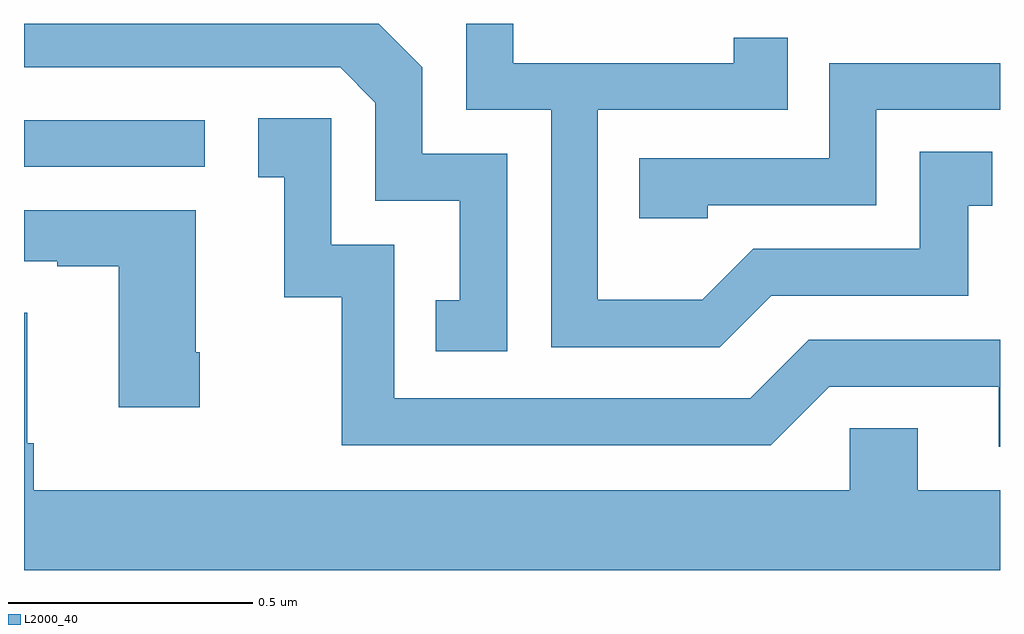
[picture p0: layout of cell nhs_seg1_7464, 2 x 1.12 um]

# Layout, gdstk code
import gdstk
lib = gdstk.Library(unit=1e-6, precision=1e-09)
def R(c, l, rs):  # rectangles x0, y0, x1, y1
    for r in rs: c.add(gdstk.rectangle(r[:2], r[2:], *l))
def P(c, l, *ps):  # polygons
    for p in ps: c.add(gdstk.Polygon(p, *l))
L2000_40 = (2000, 40)

nhs_seg1_7464 = lib.new_cell('nhs_seg1_7464')
R(nhs_seg1_7464, L2000_40, [(204,537.906,204.37,538.002)])
P(nhs_seg1_7464, L2000_40, [(205.531,537.642),(205.935,537.642),(205.935,537.827),(205.984,537.827),(205.984,537.937),(205.836,537.937),(205.836,537.738),(205.494,537.738),(205.39,537.634),(205.176,537.634),(205.176,538.023),(205.565,538.023),(205.565,538.171),(205.454,538.171),(205.454,538.119),(205.003,538.119),(205.003,538.199),(204.906,538.199),(204.906,538.023),(205.08,538.023),(205.08,537.537),(205.426,537.537)],
  [(204.99,537.933),(204.816,537.933),(204.816,538.11),(204.727,538.199),(204,538.199),(204,538.11),(204.648,538.11),(204.72,538.038),(204.72,537.837),(204.893,537.837),(204.893,537.633),(204.844,537.633),(204.844,537.528),(204.99,537.528)],
  [(205.401,537.828),(205.746,537.828),(205.746,538.023),(206,538.023),(206,538.119),(205.65,538.119),(205.65,537.924),(205.261,537.924),(205.261,537.801),(205.401,537.801)],
  [(206,537.552),(205.608,537.552),(205.488,537.432),(204.759,537.432),(204.759,537.747),(204.63,537.747),(204.63,538.006),(204.48,538.006),(204.48,537.885),(204.533,537.885),(204.533,537.639),(204.651,537.639),(204.651,537.336),(205.53,537.336),(205.65,537.456),(205.997,537.456),(205.997,537.333),(206,537.333)],
  [(204.36,537.526),(204.352,537.526),(204.352,537.817),(204,537.817),(204,537.713),(204.068,537.713),(204.068,537.703),(204.194,537.703),(204.194,537.414),(204.36,537.414)],
  [(206,537.244),(205.831,537.244),(205.831,537.371),(205.692,537.371),(205.692,537.244),(204.02,537.244),(204.02,537.34),(204.007,537.34),(204.007,537.607),(204,537.607),(204,537.08),(206,537.08)])

lib.write_gds('nhs_seg1_7464.gds')
